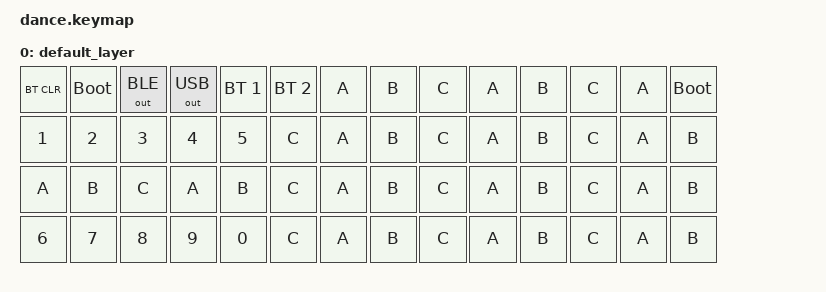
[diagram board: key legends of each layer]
#include <behaviors.dtsi>
#include <dt-bindings/zmk/keys.h>
#include <dt-bindings/zmk/bt.h>
#include <dt-bindings/zmk/outputs.h>

#define DEFAULT 0
#define NUMBER   1
#define SIGN   2
#define SWITCH 3
#define WASD 4
#define RIGHTHAND 5
#define GAME 6

/ {
    keymap {
        compatible = "zmk,keymap";

        default_layer {
            bindings = <
                &bt BT_CLR &bootloader &out OUT_BLE &out OUT_USB &bt BT_SEL 1 &bt BT_SEL 2 &kp A      &kp B &kp C &kp A &kp B &kp C &kp A &bootloader
                &kp N1 &kp N2 &kp N3 &kp N4 &kp N5 &kp C &kp A &kp B &kp C &kp A &kp B &kp C &kp A &kp B
                &kp A &kp B &kp C &kp A &kp B &kp C &kp A &kp B &kp C &kp A &kp B &kp C &kp A &kp B
                &kp N6 &kp N7 &kp N8 &kp N9 &kp N0 &kp C &kp A &kp B &kp C &kp A &kp B &kp C &kp A &kp B
            >;
        };
    };
};
